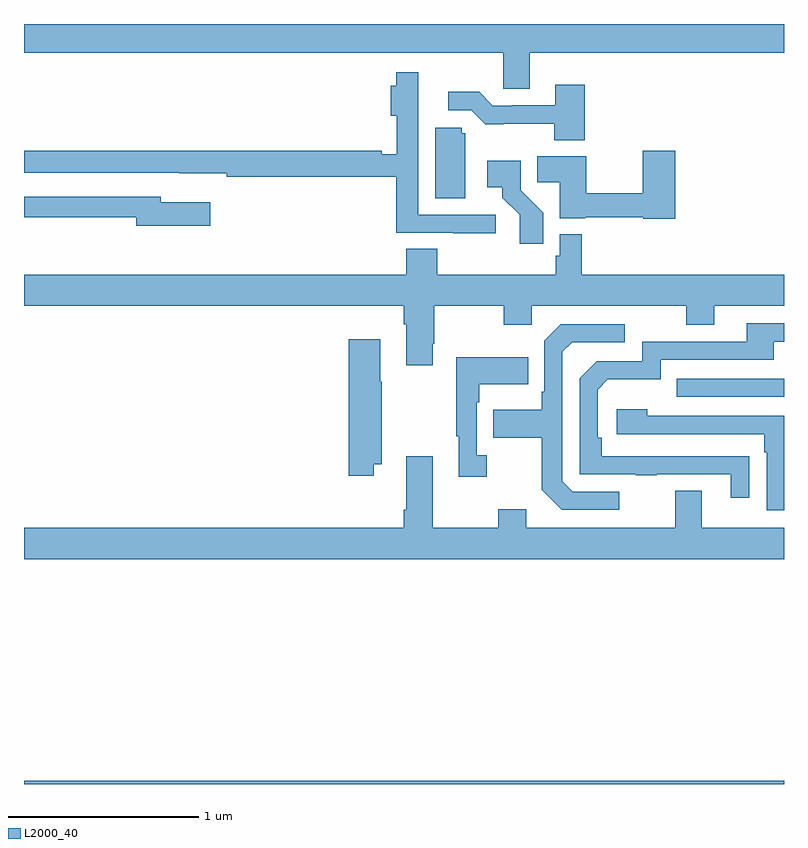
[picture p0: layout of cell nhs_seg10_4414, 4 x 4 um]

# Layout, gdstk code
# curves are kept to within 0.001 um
import gdstk
lib = gdstk.Library(unit=1e-6, precision=1e-09)
def R(c, l, rs):  # rectangles x0, y0, x1, y1
    for r in rs: c.add(gdstk.rectangle(r[:2], r[2:], *l))
def P(c, l, *ps):  # polygons
    for p in ps: c.add(gdstk.Polygon(p, *l))
L2000_40 = (2000, 40)

nhs_seg10_4414 = lib.new_cell('nhs_seg10_4414')
R(nhs_seg10_4414, L2000_40, [(361,1264.5,365,1264.516), (364.435,1266.537,365,1266.633)])
P(nhs_seg10_4414, L2000_40, [(363.661,1268.348),(365,1268.348),(365,1268.5),(361,1268.5),(361,1268.348),(363.522,1268.348),(363.522,1268.158),(363.661,1268.158)],
  [(363.484,1267.497),(363.075,1267.497),(363.075,1268.022),(363.076,1268.022),(363.076,1268.245),(362.959,1268.245),(362.959,1268.176),(362.93,1268.176),(362.93,1268.018),(362.963,1268.018),(362.963,1267.814),(362.882,1267.814),(362.882,1267.832),(361,1267.832),(361,1267.716),(361.816,1267.716),(361.816,1267.715),(362.068,1267.715),(362.068,1267.696),(362.959,1267.696),(362.959,1267.401),(363.259,1267.401),(363.259,1267.399),(363.484,1267.399)],
  [(363.95,1268.179),(363.797,1268.179),(363.797,1268.073),(363.568,1268.073),(363.568,1268.07),(363.468,1268.07),(363.395,1268.143),(363.234,1268.143),(363.234,1268.046),(363.354,1268.046),(363.427,1267.973),(363.79,1267.974),(363.79,1267.889),(363.95,1267.889)],
  [(363.322,1267.926),(363.303,1267.926),(363.303,1267.953),(363.164,1267.953),(363.164,1267.582),(363.322,1267.582)],
  [(364.427,1267.834),(364.256,1267.834),(364.256,1267.61),(363.958,1267.61),(363.958,1267.804),(363.7,1267.804),(363.7,1267.666),(363.821,1267.666),(363.821,1267.478),(363.954,1267.478),(363.954,1267.482),(364.26,1267.482),(364.26,1267.474),(364.427,1267.474)],
  [(363.734,1267.506),(363.615,1267.625),(363.615,1267.78),(363.438,1267.78),(363.438,1267.64),(363.518,1267.64),(363.518,1267.585),(363.609,1267.495),(363.609,1267.344),(363.734,1267.344)],
  [(361.981,1267.561),(361.72,1267.561),(361.72,1267.59),(361,1267.59),(361,1267.482),(361.592,1267.482),(361.592,1267.439),(361.981,1267.439)],
  [(363.151,1266.817),(363.159,1266.817),(363.159,1267.016),(363.526,1267.016),(363.526,1266.917),(363.672,1266.917),(363.672,1267.016),(364.486,1267.016),(364.486,1266.917),(364.633,1266.917),(364.633,1267.016),(365,1267.016),(365,1267.18),(363.935,1267.18),(363.935,1267.393),(363.819,1267.393),(363.819,1267.281),(363.799,1267.281),(363.799,1267.18),(363.176,1267.18),(363.176,1267.316),(363.011,1267.316),(363.011,1267.18),(361,1267.18),(361,1267.016),(362.999,1267.016),(362.999,1266.92),(363.011,1266.92),(363.011,1266.705),(363.151,1266.705)],
  [(364.817,1266.224),(364.04,1266.225),(364.04,1266.322),(364.02,1266.322),(364.02,1266.576),(364.073,1266.629),(364.35,1266.629),(364.35,1266.732),(364.945,1266.732),(364.945,1266.828),(365,1266.828),(365,1266.924),(364.805,1266.924),(364.805,1266.828),(364.254,1266.828),(364.254,1266.726),(364.014,1266.726),(363.924,1266.636),(363.924,1266.129),(364.219,1266.129),(364.219,1266.124),(364.331,1266.124),(364.331,1266.129),(364.721,1266.129),(364.721,1266.006),(364.817,1266.006)],
  [(364.132,1266.039),(363.888,1266.039),(363.834,1266.093),(363.834,1266.774),(363.885,1266.825),(364.162,1266.825),(364.162,1266.921),(363.825,1266.921),(363.738,1266.834),(363.738,1266.565),(363.726,1266.565),(363.726,1266.469),(363.469,1266.469),(363.469,1266.322),(363.726,1266.322),(363.726,1266.049),(363.831,1265.943),(364.132,1265.943)],
  [(362.842,1266.182),(362.883,1266.182),(362.883,1266.617),(362.875,1266.617),(362.875,1266.841),(362.708,1266.841),(362.708,1266.123),(362.842,1266.123)],
  [(363.436,1266.23),(363.384,1266.23),(363.384,1266.509),(363.397,1266.509),(363.397,1266.605),(363.653,1266.605),(363.653,1266.745),(363.276,1266.745),(363.276,1266.329),(363.287,1266.329),(363.287,1266.117),(363.436,1266.117)],
  [(365,1266.438),(364.28,1266.438),(364.28,1266.472),(364.119,1266.472),(364.119,1266.342),(364.895,1266.342),(364.895,1266.245),(364.908,1266.245),(364.908,1265.94),(365,1265.94)],
  [(365,1265.848),(364.567,1265.848),(364.567,1266.043),(364.427,1266.043),(364.427,1265.848),(363.643,1265.848),(363.643,1265.947),(363.496,1265.947),(363.496,1265.848),(363.151,1265.848),(363.151,1266.226),(363.011,1266.226),(363.011,1265.944),(362.999,1265.944),(362.999,1265.848),(361,1265.848),(361,1265.684),(365,1265.684)])

lib.write_gds('nhs_seg10_4414.gds')
